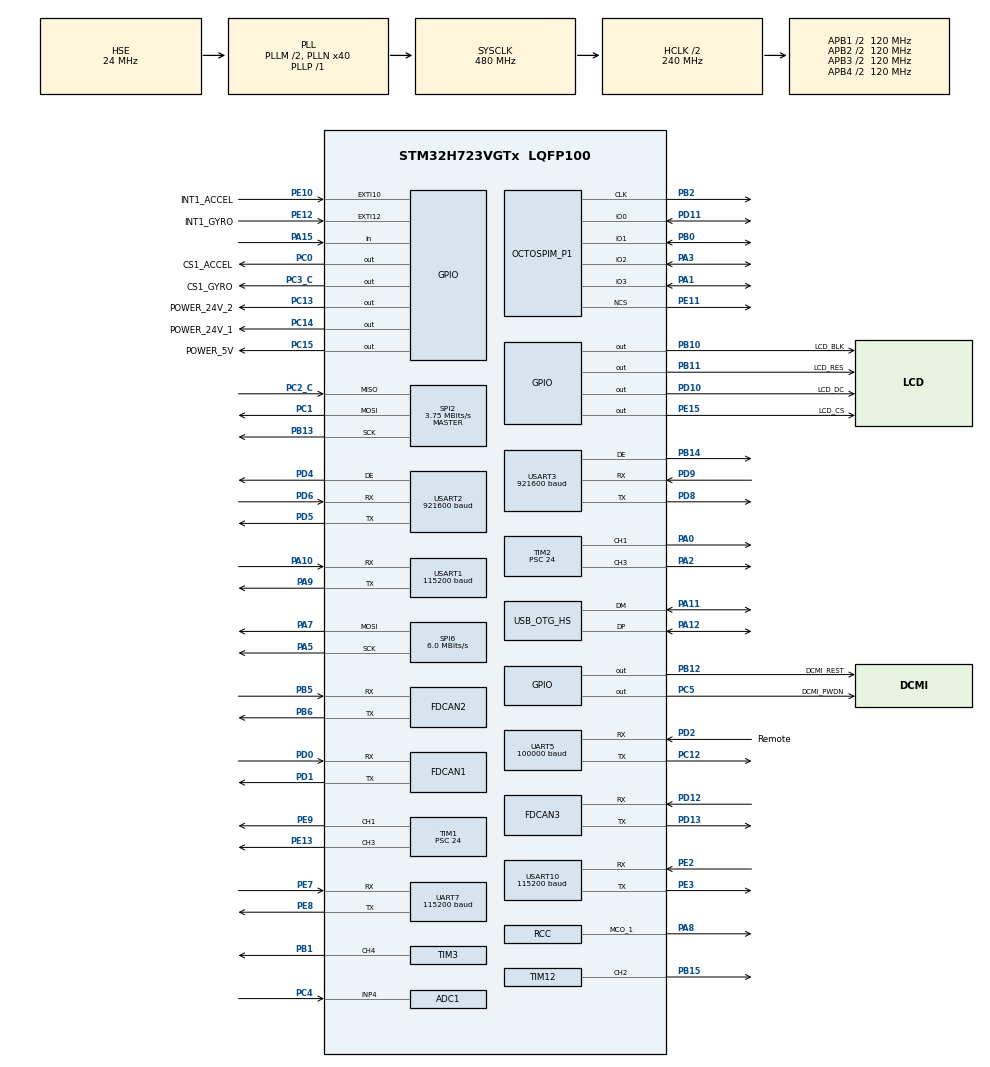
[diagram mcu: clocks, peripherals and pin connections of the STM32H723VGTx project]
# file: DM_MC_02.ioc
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ADC1.Channel-2\#ChannelRegularConversion=ADC_CHANNEL_4
ADC1.NbrOfConversionFlag=1
ADC1.OffsetNumber-2\#ChannelRegularConversion=ADC_OFFSET_NONE
ADC1.OffsetSignedSaturation-2\#ChannelRegularConversion=DISABLE
ADC1.Rank-2\#ChannelRegularConversion=1
ADC1.SamplingTime-2\#ChannelRegularConversion=ADC_SAMPLETIME_1CYCLE_5
ADC1.master=1
CORTEX_M7.BaseAddress-Cortex_Memory_Protection_Unit_Region0_Settings=0x24000000
CORTEX_M7.CPU_DCache=Disabled
CORTEX_M7.CPU_ICache=Disabled
CORTEX_M7.Enable-Cortex_Memory_Protection_Unit_Region0_Settings=MPU_REGION_ENABLE
CORTEX_M7.IsBufferable-Cortex_Memory_Protection_Unit_Region0_Settings=MPU_ACCESS_BUFFERABLE
CORTEX_M7.IsCacheable-Cortex_Memory_Protection_Unit_Region0_Settings=MPU_ACCESS_CACHEABLE
CORTEX_M7.MPU_Control=__NULL
CORTEX_M7.Size-Cortex_Memory_Protection_Unit_Region0_Settings=MPU_REGION_SIZE_512B
CORTEX_M7.TypeExtField-Cortex_Memory_Protection_Unit_Region0_Settings=MPU_TEX_LEVEL1
Dma.Request0=UART5_RX
Dma.Request1=UART7_RX
Dma.Request2=UART7_TX
Dma.Request3=USART10_RX
Dma.Request4=USART10_TX
Dma.Request5=USART1_RX
Dma.Request6=USART1_TX
Dma.UART5_RX.0.Direction=DMA_PERIPH_TO_MEMORY
Dma.UART5_RX.0.EventEnable=DISABLE
Dma.UART5_RX.0.FIFOMode=DMA_FIFOMODE_DISABLE
Dma.UART5_RX.0.Instance=DMA1_Stream1
Dma.UART5_RX.0.MemDataAlignment=DMA_MDATAALIGN_BYTE
Dma.UART5_RX.0.MemInc=DMA_MINC_ENABLE
Dma.UART5_RX.0.Mode=DMA_NORMAL
Dma.UART5_RX.0.PeriphDataAlignment=DMA_PDATAALIGN_BYTE
Dma.UART5_RX.0.PeriphInc=DMA_PINC_DISABLE
Dma.UART5_RX.0.Polarity=HAL_DMAMUX_REQ_GEN_RISING
Dma.UART5_RX.0.Priority=DMA_PRIORITY_VERY_HIGH
Dma.UART5_RX.0.RequestNumber=1
Dma.UART5_RX.0.SignalID=NONE
Dma.UART5_RX.0.SyncEnable=DISABLE
Dma.UART5_RX.0.SyncPolarity=HAL_DMAMUX_SYNC_NO_EVENT
Dma.UART5_RX.0.SyncRequestNumber=1
Dma.UART5_RX.0.SyncSignalID=NONE
Dma.UART7_RX.1.Direction=DMA_PERIPH_TO_MEMORY
Dma.UART7_RX.1.EventEnable=DISABLE
Dma.UART7_RX.1.FIFOMode=DMA_FIFOMODE_DISABLE
Dma.UART7_RX.1.Instance=DMA1_Stream2
Dma.UART7_RX.1.MemDataAlignment=DMA_MDATAALIGN_BYTE
Dma.UART7_RX.1.MemInc=DMA_MINC_ENABLE
Dma.UART7_RX.1.Mode=DMA_NORMAL
Dma.UART7_RX.1.PeriphDataAlignment=DMA_PDATAALIGN_BYTE
Dma.UART7_RX.1.PeriphInc=DMA_PINC_DISABLE
Dma.UART7_RX.1.Polarity=HAL_DMAMUX_REQ_GEN_RISING
Dma.UART7_RX.1.Priority=DMA_PRIORITY_MEDIUM
Dma.UART7_RX.1.RequestNumber=1
Dma.UART7_RX.1.SignalID=NONE
Dma.UART7_RX.1.SyncEnable=DISABLE
Dma.UART7_RX.1.SyncPolarity=HAL_DMAMUX_SYNC_NO_EVENT
Dma.UART7_RX.1.SyncRequestNumber=1
Dma.UART7_RX.1.SyncSignalID=NONE
Dma.UART7_TX.2.Direction=DMA_MEMORY_TO_PERIPH
Dma.UART7_TX.2.EventEnable=DISABLE
Dma.UART7_TX.2.FIFOMode=DMA_FIFOMODE_DISABLE
Dma.UART7_TX.2.Instance=DMA1_Stream3
Dma.UART7_TX.2.MemDataAlignment=DMA_MDATAALIGN_BYTE
Dma.UART7_TX.2.MemInc=DMA_MINC_ENABLE
Dma.UART7_TX.2.Mode=DMA_NORMAL
Dma.UART7_TX.2.PeriphDataAlignment=DMA_PDATAALIGN_BYTE
Dma.UART7_TX.2.PeriphInc=DMA_PINC_DISABLE
Dma.UART7_TX.2.Polarity=HAL_DMAMUX_REQ_GEN_RISING
Dma.UART7_TX.2.Priority=DMA_PRIORITY_MEDIUM
Dma.UART7_TX.2.RequestNumber=1
Dma.UART7_TX.2.SignalID=NONE
Dma.UART7_TX.2.SyncEnable=DISABLE
Dma.UART7_TX.2.SyncPolarity=HAL_DMAMUX_SYNC_NO_EVENT
Dma.UART7_TX.2.SyncRequestNumber=1
Dma.UART7_TX.2.SyncSignalID=NONE
Dma.USART10_RX.3.Direction=DMA_PERIPH_TO_MEMORY
Dma.USART10_RX.3.EventEnable=DISABLE
Dma.USART10_RX.3.FIFOMode=DMA_FIFOMODE_DISABLE
Dma.USART10_RX.3.Instance=DMA1_Stream4
Dma.USART10_RX.3.MemDataAlignment=DMA_MDATAALIGN_BYTE
Dma.USART10_RX.3.MemInc=DMA_MINC_ENABLE
Dma.USART10_RX.3.Mode=DMA_NORMAL
Dma.USART10_RX.3.PeriphDataAlignment=DMA_PDATAALIGN_BYTE
Dma.USART10_RX.3.PeriphInc=DMA_PINC_DISABLE
Dma.USART10_RX.3.Polarity=HAL_DMAMUX_REQ_GEN_RISING
Dma.USART10_RX.3.Priority=DMA_PRIORITY_LOW
Dma.USART10_RX.3.RequestNumber=1
Dma.USART10_RX.3.SignalID=NONE
Dma.USART10_RX.3.SyncEnable=DISABLE
Dma.USART10_RX.3.SyncPolarity=HAL_DMAMUX_SYNC_NO_EVENT
Dma.USART10_RX.3.SyncRequestNumber=1
Dma.USART10_RX.3.SyncSignalID=NONE
Dma.USART10_TX.4.Direction=DMA_MEMORY_TO_PERIPH
Dma.USART10_TX.4.EventEnable=DISABLE
Dma.USART10_TX.4.FIFOMode=DMA_FIFOMODE_DISABLE
Dma.USART10_TX.4.Instance=DMA1_Stream5
Dma.USART10_TX.4.MemDataAlignment=DMA_MDATAALIGN_BYTE
Dma.USART10_TX.4.MemInc=DMA_MINC_ENABLE
Dma.USART10_TX.4.Mode=DMA_NORMAL
Dma.USART10_TX.4.PeriphDataAlignment=DMA_PDATAALIGN_BYTE
Dma.USART10_TX.4.PeriphInc=DMA_PINC_DISABLE
Dma.USART10_TX.4.Polarity=HAL_DMAMUX_REQ_GEN_RISING
Dma.USART10_TX.4.Priority=DMA_PRIORITY_LOW
Dma.USART10_TX.4.RequestNumber=1
Dma.USART10_TX.4.SignalID=NONE
Dma.USART10_TX.4.SyncEnable=DISABLE
Dma.USART10_TX.4.SyncPolarity=HAL_DMAMUX_SYNC_NO_EVENT
Dma.USART10_TX.4.SyncRequestNumber=1
Dma.USART10_TX.4.SyncSignalID=NONE
Dma.USART1_RX.5.Direction=DMA_PERIPH_TO_MEMORY
Dma.USART1_RX.5.EventEnable=DISABLE
Dma.USART1_RX.5.FIFOMode=DMA_FIFOMODE_DISABLE
Dma.USART1_RX.5.Instance=DMA1_Stream0
Dma.USART1_RX.5.MemDataAlignment=DMA_MDATAALIGN_BYTE
Dma.USART1_RX.5.MemInc=DMA_MINC_ENABLE
Dma.USART1_RX.5.Mode=DMA_NORMAL
Dma.USART1_RX.5.PeriphDataAlignment=DMA_PDATAALIGN_BYTE
Dma.USART1_RX.5.PeriphInc=DMA_PINC_DISABLE
Dma.USART1_RX.5.Polarity=HAL_DMAMUX_REQ_GEN_RISING
Dma.USART1_RX.5.Priority=DMA_PRIORITY_LOW
Dma.USART1_RX.5.RequestNumber=1
Dma.USART1_RX.5.SignalID=NONE
Dma.USART1_RX.5.SyncEnable=DISABLE
Dma.USART1_RX.5.SyncPolarity=HAL_DMAMUX_SYNC_NO_EVENT
Dma.USART1_RX.5.SyncRequestNumber=1
Dma.USART1_RX.5.SyncSignalID=NONE
Dma.USART1_TX.6.Direction=DMA_MEMORY_TO_PERIPH
Dma.USART1_TX.6.EventEnable=DISABLE
Dma.USART1_TX.6.FIFOMode=DMA_FIFOMODE_DISABLE
Dma.USART1_TX.6.Instance=DMA1_Stream6
Dma.USART1_TX.6.MemDataAlignment=DMA_MDATAALIGN_BYTE
Dma.USART1_TX.6.MemInc=DMA_MINC_ENABLE
Dma.USART1_TX.6.Mode=DMA_NORMAL
Dma.USART1_TX.6.PeriphDataAlignment=DMA_PDATAALIGN_BYTE
Dma.USART1_TX.6.PeriphInc=DMA_PINC_DISABLE
Dma.USART1_TX.6.Polarity=HAL_DMAMUX_REQ_GEN_RISING
Dma.USART1_TX.6.Priority=DMA_PRIORITY_LOW
Dma.USART1_TX.6.RequestNumber=1
Dma.USART1_TX.6.SignalID=NONE
Dma.USART1_TX.6.SyncEnable=DISABLE
Dma.USART1_TX.6.SyncPolarity=HAL_DMAMUX_SYNC_NO_EVENT
Dma.USART1_TX.6.SyncRequestNumber=1
Dma.USART1_TX.6.SyncSignalID=NONE
FDCAN1.CalculateBaudRateNominal=1000000
FDCAN1.CalculateTimeBitNominal=1000
FDCAN1.CalculateTimeQuantumNominal=100.0
FDCAN1.NominalPrescaler=12
FDCAN1.NominalTimeSeg1=7
FDCAN1.NominalTimeSeg2=2
FDCAN1.RxFifo0ElmtsNbr=32
FDCAN1.StdFiltersNbr=1
FDCAN1.TxFifoQueueElmtsNbr=32
FDCAN2.CalculateBaudRateNominal=1000000
FDCAN2.CalculateTimeBitNominal=1000
FDCAN2.CalculateTimeQuantumNominal=100.0
FDCAN2.MessageRAMOffset=0x406
FDCAN2.NominalPrescaler=12
FDCAN2.NominalTimeSeg1=7
FDCAN2.NominalTimeSeg2=2
FDCAN2.RxFifo0ElmtsNbr=32
FDCAN2.StdFiltersNbr=1
FDCAN2.TxFifoQueueElmtsNbr=32
FDCAN3.CalculateBaudRateNominal=1000000
FDCAN3.CalculateTimeBitNominal=1000
FDCAN3.CalculateTimeQuantumNominal=100.0
FDCAN3.MessageRAMOffset=0x812
FDCAN3.NominalPrescaler=12
FDCAN3.NominalTimeSeg1=7
FDCAN3.NominalTimeSeg2=2
FDCAN3.RxFifo0ElmtsNbr=32
FDCAN3.StdFiltersNbr=1
FDCAN3.TxFifoQueueElmtsNbr=32
FREERTOS.INCLUDE_eTaskGetState=1
FREERTOS.INCLUDE_uxTaskGetStackHighWaterMark=1
FREERTOS.INCLUDE_vTaskDelayUntil=1
FREERTOS.INCLUDE_xQueueGetMutexHolder=1
FREERTOS.INCLUDE_xTaskGetCurrentTaskHandle=1
FREERTOS.INCLUDE_xTimerPendFunctionCall=1
FREERTOS.Tasks01=defaultTask,24,2048,StartDefaultTask,Default,NULL,Dynamic,NULL,NULL
FREERTOS.configCHECK_FOR_STACK_OVERFLOW=2
FREERTOS.configENABLE_FPU=1
FREERTOS.configGENERATE_RUN_TIME_STATS=1
FREERTOS.configRECORD_STACK_HIGH_ADDRESS=1
FREERTOS.configTOTAL_HEAP_SIZE=65536
FREERTOS.configUSE_COUNTING_SEMAPHORES=1
FREERTOS.configUSE_RECURSIVE_MUTEXES=1
FREERTOS.configUSE_TIMERS=1
FREERTOS.configUSE_TRACE_FACILITY=1
Mcu.Family=STM32H7
Mcu.Name=STM32H723VGTx
Mcu.Package=LQFP100
NVIC.DMA1_Stream0_IRQn=true\:5\:0\:false\:false\:true\:true\:false\:true\:true
NVIC.DMA1_Stream1_IRQn=true\:5\:0\:false\:false\:true\:true\:false\:true\:true
NVIC.DMA1_Stream2_IRQn=true\:5\:0\:false\:false\:true\:true\:false\:true\:true
NVIC.DMA1_Stream3_IRQn=true\:5\:0\:false\:false\:true\:true\:false\:true\:true
NVIC.DMA1_Stream4_IRQn=true\:5\:0\:false\:false\:true\:true\:false\:true\:true
NVIC.DMA1_Stream5_IRQn=true\:5\:0\:false\:false\:true\:true\:false\:true\:true
NVIC.DMA1_Stream6_IRQn=true\:5\:0\:false\:false\:true\:true\:false\:true\:true
NVIC.EXTI15_10_IRQn=true\:5\:0\:false\:false\:true\:true\:true\:true\:true
NVIC.FDCAN1_IT0_IRQn=true\:5\:0\:false\:false\:true\:true\:true\:true\:true
NVIC.FDCAN1_IT1_IRQn=true\:5\:0\:false\:false\:true\:true\:true\:true\:true
NVIC.FDCAN2_IT0_IRQn=true\:5\:0\:false\:false\:true\:true\:true\:true\:true
NVIC.FDCAN2_IT1_IRQn=true\:5\:0\:false\:false\:true\:true\:true\:true\:true
NVIC.FDCAN3_IT0_IRQn=true\:5\:0\:false\:false\:true\:true\:true\:true\:true
NVIC.FDCAN3_IT1_IRQn=true\:5\:0\:false\:false\:true\:true\:true\:true\:true
NVIC.OTG_HS_IRQn=true\:5\:0\:false\:false\:true\:true\:false\:true\:true
NVIC.PriorityGroup=NVIC_PRIORITYGROUP_4
NVIC.TIM23_IRQn=true\:15\:0\:false\:false\:true\:false\:false\:true\:true
NVIC.TimeBase=TIM23_IRQn
NVIC.TimeBaseIP=TIM23
NVIC.UART5_IRQn=true\:5\:0\:false\:false\:true\:true\:true\:true\:true
NVIC.UART7_IRQn=true\:5\:0\:true\:false\:true\:false\:true\:true\:true
NVIC.USART10_IRQn=true\:5\:0\:true\:false\:true\:false\:true\:true\:true
NVIC.USART1_IRQn=true\:5\:0\:true\:false\:true\:false\:true\:true\:true
NVIC.USART2_IRQn=true\:5\:0\:true\:false\:true\:false\:true\:true\:true
NVIC.USART3_IRQn=true\:5\:0\:true\:false\:true\:false\:true\:true\:true
OCTOSPI2.ClockMode=HAL_OSPI_CLOCK_MODE_3
OCTOSPI2.ClockPrescaler=3
OCTOSPI2.DeviceSize=23
OCTOSPI2.DeviceType=SPI_DEVICE_FLASH
OCTOSPI2.FifoThreshold=8
OCTOSPI2.SampleShifting=HAL_OSPI_SAMPLE_SHIFTING_HALFCYCLE
PA0.Signal=S_TIM2_CH1_ETR
PA1.Mode=OCTOSPI2_IOL_Port1L
PA1.Signal=OCTOSPIM_P1_IO3
PA10.Mode=Asynchronous
PA10.Signal=USART1_RX
PA11.Mode=Device_Only_FS
PA11.Signal=USB_OTG_HS_DM
PA12.Mode=Device_Only_FS
PA12.Signal=USB_OTG_HS_DP
PA13(JTMS/SWDIO).Mode=Serial_Wire
PA13(JTMS/SWDIO).Signal=DEBUG_JTMS-SWDIO
PA14(JTCK/SWCLK).Mode=Serial_Wire
PA14(JTCK/SWCLK).Signal=DEBUG_JTCK-SWCLK
PA15(JTDI).Signal=GPIO_Input
PA2.Signal=S_TIM2_CH3
PA3.Mode=OCTOSPI2_IOL_Port1L
PA3.Signal=OCTOSPIM_P1_IO2
PA5.Mode=TX_Only_Simplex_Unidirect_Master
PA5.Signal=SPI6_SCK
PA7.Mode=TX_Only_Simplex_Unidirect_Master
PA7.Signal=SPI6_MOSI
PA8.Mode=Clock-out-1
PA8.Signal=RCC_MCO_1
PA9.Mode=Asynchronous
PA9.Signal=USART1_TX
PB0.Mode=OCTOSPI2_IOL_Port1L
PB0.Signal=OCTOSPIM_P1_IO1
PB1.Signal=S_TIM3_CH4
PB10.GPIO_Label=LCD_BLK
PB10.Signal=GPIO_Output
PB11.GPIO_Label=LCD_RES
PB11.Signal=GPIO_Output
PB12.GPIO_Label=DCMI_REST
PB12.GPIO_PuPd=GPIO_PULLUP
PB12.GPIO_Speed=GPIO_SPEED_FREQ_VERY_HIGH
PB12.PinState=GPIO_PIN_SET
PB12.Signal=GPIO_Output
PB13.GPIO_Speed=GPIO_SPEED_FREQ_VERY_HIGH
PB13.Mode=Full_Duplex_Master
PB13.Signal=SPI2_SCK
PB14.Mode=Hardware Flow Control (RS485)
PB14.Signal=USART3_DE
PB15.Signal=S_TIM12_CH2
PB2.Mode=O2_P1_CLK
PB2.Signal=OCTOSPIM_P1_CLK
PB5.Mode=FDCAN_Activate
PB5.Signal=FDCAN2_RX
PB6.Mode=FDCAN_Activate
PB6.Signal=FDCAN2_TX
PC0.GPIO_Label=CS1_ACCEL
PC0.GPIO_Speed=GPIO_SPEED_FREQ_VERY_HIGH
PC0.PinState=GPIO_PIN_SET
PC0.Signal=GPIO_Output
PC1.GPIO_Speed=GPIO_SPEED_FREQ_VERY_HIGH
PC1.Mode=Full_Duplex_Master
PC1.Signal=SPI2_MOSI
PC12.Mode=Asynchronous
PC12.Signal=UART5_TX
PC13.GPIO_Label=POWER_24V_2
PC13.PinState=GPIO_PIN_SET
PC13.Signal=GPIO_Output
PC14-OSC32_IN.GPIO_Label=POWER_24V_1
PC14-OSC32_IN.PinState=GPIO_PIN_SET
PC14-OSC32_IN.Signal=GPIO_Output
PC15-OSC32_OUT.GPIO_Label=POWER_5V
PC15-OSC32_OUT.PinState=GPIO_PIN_SET
PC15-OSC32_OUT.Signal=GPIO_Output
PC2_C.GPIO_Speed=GPIO_SPEED_FREQ_VERY_HIGH
PC2_C.Mode=Full_Duplex_Master
PC2_C.Signal=SPI2_MISO
PC3_C.GPIO_Label=CS1_GYRO
PC3_C.GPIO_Speed=GPIO_SPEED_FREQ_VERY_HIGH
PC3_C.PinState=GPIO_PIN_SET
PC3_C.Signal=GPIO_Output
PC4.Signal=ADCx_INP4
PC5.GPIO_Label=DCMI_PWDN
PC5.GPIO_PuPd=GPIO_NOPULL
PC5.GPIO_Speed=GPIO_SPEED_FREQ_VERY_HIGH
PC5.PinState=GPIO_PIN_SET
PC5.Signal=GPIO_Output
PD0.Mode=FDCAN_Activate
PD0.Signal=FDCAN1_RX
PD1.Mode=FDCAN_Activate
PD1.Signal=FDCAN1_TX
PD10.GPIO_Label=LCD_DC
PD10.Signal=GPIO_Output
PD11.Mode=OCTOSPI2_IOL_Port1L
PD11.Signal=OCTOSPIM_P1_IO0
PD12.Mode=FDCAN_Activate
PD12.Signal=FDCAN3_RX
PD13.Mode=FDCAN_Activate
PD13.Signal=FDCAN3_TX
PD2.GPIO_Label=Remote
PD2.GPIO_Speed=GPIO_SPEED_FREQ_VERY_HIGH
PD2.Mode=Asynchronous
PD2.Signal=UART5_RX
PD4.Mode=Hardware Flow Control (RS485)
PD4.Signal=USART2_DE
PD5.Mode=Asynchronous
PD5.Signal=USART2_TX
PD6.Mode=Asynchronous
PD6.Signal=USART2_RX
PD7.GPIO_Speed=GPIO_SPEED_FREQ_VERY_HIGH
PD7.Signal=SPI1_MOSI
PD8.Mode=Asynchronous
PD8.Signal=USART3_TX
PD9.Mode=Asynchronous
PD9.Signal=USART3_RX
PE10.GPIO_Label=INT1_ACCEL
PE10.Signal=GPXTI10
PE11.Mode=OCTOSPI2_Port1_NCS
PE11.Signal=OCTOSPIM_P1_NCS
PE12.GPIO_Label=INT1_GYRO
PE12.Signal=GPXTI12
PE13.Signal=S_TIM1_CH3
PE15.GPIO_Label=LCD_CS
PE15.Signal=GPIO_Output
PE2.Mode=Asynchronous
PE2.Signal=USART10_RX
PE3.Mode=Asynchronous
PE3.Signal=USART10_TX
PE7.Mode=Asynchronous
PE7.Signal=UART7_RX
PE8.Mode=Asynchronous
PE8.Signal=UART7_TX
PE9.Signal=S_TIM1_CH1
PH0-OSC_IN.Mode=HSE-External-Oscillator
PH0-OSC_IN.Signal=RCC_OSC_IN
PH1-OSC_OUT.Mode=HSE-External-Oscillator
PH1-OSC_OUT.Signal=RCC_OSC_OUT
ProjectManager.HeapSize=0x200
ProjectManager.StackSize=0x800
ProjectManager.TargetToolchain=CMake
RCC.ADCFreq_Value=96000000
RCC.APB1Freq_Value=120000000
RCC.APB2Freq_Value=120000000
RCC.APB3Freq_Value=120000000
RCC.APB4Freq_Value=120000000
RCC.CortexFreq_Value=480000000
RCC.D1PPRE=RCC_APB3_DIV2
RCC.D2PPRE1=RCC_APB1_DIV2
RCC.D2PPRE2=RCC_APB2_DIV2
RCC.D3PPRE=RCC_APB4_DIV2
RCC.DIVM1=2
RCC.DIVM2=2
RCC.DIVN1=40
RCC.DIVN2=16
RCC.DIVP1=1
RCC.DIVQ1=4
RCC.HCLKFreq_Value=240000000
RCC.HPRE=RCC_HCLK_DIV2
RCC.HSE_VALUE=24000000
RCC.PLL1_VCO_SEL-AdvancedSettings=RCC_PLL1VCOMEDIUM
RCC.PLL2FRACN=0
RCC.PLL2_VCI_Range-AdvancedSettings=RCC_PLL2VCIRANGE_0
RCC.PLL2_VCO_SEL-AdvancedSettings=RCC_PLL2VCOWIDE
RCC.PLL3FRACN=0
RCC.PLL3_VCO_SEL-AdvancedSettings=RCC_PLL3VCOMEDIUM
RCC.PLLFRACN=0
RCC.PLLSourceVirtual=RCC_PLLSOURCE_HSE
RCC.RCC_MCO1Source=RCC_MCO1SOURCE_HSI48
RCC.SPI6CLockSelection=RCC_SPI6CLKSOURCE_HSE
RCC.SYSCLKFreq_VALUE=480000000
RCC.SYSCLKSource=RCC_SYSCLKSOURCE_PLLCLK
RCC.USBCLockSelection=RCC_USBCLKSOURCE_HSI48
RCC.USBFreq_Value=48000000
SH.ADCx_INP4.0=ADC1_INP4,IN4-Single-Ended
SH.S_TIM12_CH2.0=TIM12_CH2,PWM Generation2 CH2
SH.S_TIM1_CH1.0=TIM1_CH1,PWM Generation1 CH1
SH.S_TIM1_CH3.0=TIM1_CH3,PWM Generation3 CH3
SH.S_TIM2_CH1_ETR.0=TIM2_CH1,PWM Generation1 CH1
SH.S_TIM2_CH3.0=TIM2_CH3,PWM Generation3 CH3
SH.S_TIM3_CH4.0=TIM3_CH4,PWM Generation4 CH4
SPI2.BaudRatePrescaler=SPI_BAUDRATEPRESCALER_32
SPI2.CLKPhase=SPI_PHASE_2EDGE
SPI2.CLKPolarity=SPI_POLARITY_HIGH
SPI2.CalculateBaudRate=3.75 MBits/s
SPI2.DataSize=SPI_DATASIZE_8BIT
SPI2.Direction=SPI_DIRECTION_2LINES
SPI2.Mode=SPI_MODE_MASTER
SPI2.VirtualType=VM_MASTER
SPI6.BaudRatePrescaler=SPI_BAUDRATEPRESCALER_4
SPI6.CalculateBaudRate=6.0 MBits/s
SPI6.DataSize=SPI_DATASIZE_6BIT
SPI6.Direction=SPI_DIRECTION_2LINES_TXONLY
SPI6.Mode=SPI_MODE_MASTER
SPI6.VirtualType=VM_MASTER
TIM1.Channel-PWM\ Generation1\ CH1=TIM_CHANNEL_1
TIM1.Channel-PWM\ Generation3\ CH3=TIM_CHANNEL_3
TIM1.Period=10000
TIM1.Prescaler=24
TIM1.Pulse-PWM\ Generation1\ CH1=5000
TIM1.Pulse-PWM\ Generation3\ CH3=5000
TIM12.Channel-PWM\ Generation2\ CH2=TIM_CHANNEL_2
TIM12.Period=65535
TIM12.Prescaler=24-1
TIM2.Channel-PWM\ Generation1\ CH1=TIM_CHANNEL_1
TIM2.Channel-PWM\ Generation3\ CH3=TIM_CHANNEL_3
TIM2.Period=10000
TIM2.Prescaler=24
TIM2.Pulse-PWM\ Generation1\ CH1=5000
TIM2.Pulse-PWM\ Generation3\ CH3=5000
TIM3.AutoReloadPreload=TIM_AUTORELOAD_PRELOAD_ENABLE
TIM3.Channel-PWM\ Generation4\ CH4=TIM_CHANNEL_4
TIM3.Period=10000-1
TIM3.Prescaler=24-1
TIM6.Prescaler=12000-1
UART5.BaudRate=100000
UART5.Parity=PARITY_EVEN
UART5.WordLength=WORDLENGTH_9B
UART7.BaudRate=115200
USART1.BaudRate=115200
USART1.VirtualMode-Asynchronous=VM_ASYNC
USART10.BaudRate=115200
USART10.VirtualMode=VM_ASYNC
USART2.BaudRate=921600
USART2.VirtualMode-Asynchronous=VM_ASYNC
USART2.VirtualMode-Hardware\ Flow\ Control\ (RS485)=VM_ASYNC
USART3.BaudRate=921600
USART3.VirtualMode-Asynchronous=VM_ASYNC
USART3.VirtualMode-Hardware\ Flow\ Control\ (RS485)=VM_ASYNC
USB_DEVICE.CLASS_NAME_HS=CDC
USB_DEVICE.VirtualMode=Cdc
USB_DEVICE.VirtualModeHS=Cdc_HS
USB_OTG_HS.VirtualMode-Device_Only_FS=Device_Only_FS
USB_OTG_HS.lpm_enable-Device_Only_FS=DISABLE
VP_FREERTOS_VS_CMSIS_V2.Mode=CMSIS_V2
VP_MEMORYMAP_VS_MEMORYMAP.Mode=CurAppReg
VP_OCTOSPI2_VS_quad.Mode=quad_mode
VP_SYS_VS_tim23.Mode=TIM23
VP_TIM6_VS_ClockSourceINT.Mode=Enable_Timer
VP_USB_DEVICE_VS_USB_DEVICE_CDC_HS.Mode=CDC_HS
board=custom

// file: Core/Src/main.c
/* USER CODE BEGIN Header */
/**
  ******************************************************************************
  * @file           : main.c
  * @brief          : Main program body
  ******************************************************************************
  * @attention
  *
  * Copyright (c) 2024 STMicroelectronics.
  * All rights reserved.
  *
  * This software is licensed under terms that can be found in the LICENSE file
  * in the root directory of this software component.
  * If no LICENSE file comes with this software, it is provided AS-IS.
  *
  ******************************************************************************
  */
/* USER CODE END Header */
#include "main.h"
#include "cmsis_os.h"
#include "adc.h"
#include "dma.h"
#include "fdcan.h"
#include "memorymap.h"
#include "octospi.h"
#include "spi.h"
#include "tim.h"
#include "usart.h"
#include "usb_device.h"
#include "gpio.h"

/* USER CODE BEGIN Includes */
// #include "robot.h"  // Removed - user application specific
/* USER CODE END Includes */

void SystemClock_Config(void);
void MX_FREERTOS_Init(void);

int main(void)
{

  /* MCU Configuration--------------------------------------------------------*/

  /* Reset of all peripherals, Initializes the Flash interface and the Systick. */
  HAL_Init();

  /* Configure the system clock */
  SystemClock_Config();

  /* Initialize all configured peripherals */
  MX_GPIO_Init();
  MX_DMA_Init();
  MX_TIM12_Init();
  MX_SPI2_Init();
  MX_TIM3_Init();
  MX_USART1_UART_Init();
  MX_USART2_UART_Init();
  MX_USART3_UART_Init();
  MX_UART7_Init();
  MX_USART10_UART_Init();
  MX_FDCAN1_Init();
  MX_FDCAN2_Init();
  MX_FDCAN3_Init();
  MX_TIM1_Init();
  MX_TIM2_Init();
  MX_OCTOSPI2_Init();
  MX_TIM6_Init();
  MX_UART5_Init();
  MX_SPI6_Init();
  MX_ADC1_Init();

  /* Init scheduler */
  osKernelInitialize();

  /* Call init function for freertos objects (in cmsis_os2.c) */
  MX_FREERTOS_Init();

  /* Start scheduler */
  osKernelStart();

  /* We should never get here as control is now taken by the scheduler */

  /* Infinite loop */
  while (1)
  {

  }
}

void SystemClock_Config(void)
{
  RCC_OscInitTypeDef RCC_OscInitStruct = {0};
  RCC_ClkInitTypeDef RCC_ClkInitStruct = {0};

  /** Supply configuration update enable
  */
  HAL_PWREx_ConfigSupply(PWR_LDO_SUPPLY);

  /** Configure the main internal regulator output voltage
  */
  __HAL_PWR_VOLTAGESCALING_CONFIG(PWR_REGULATOR_VOLTAGE_SCALE0);

  while(!__HAL_PWR_GET_FLAG(PWR_FLAG_VOSRDY)) {}

  /** Initializes the RCC Oscillators according to the specified parameters
  * in the RCC_OscInitTypeDef structure.
  */
  RCC_OscInitStruct.OscillatorType = RCC_OSCILLATORTYPE_HSI48|RCC_OSCILLATORTYPE_HSE;
  RCC_OscInitStruct.HSEState = RCC_HSE_ON;
  RCC_OscInitStruct.HSI48State = RCC_HSI48_ON;
  RCC_OscInitStruct.PLL.PLLState = RCC_PLL_ON;
  RCC_OscInitStruct.PLL.PLLSource = RCC_PLLSOURCE_HSE;
  RCC_OscInitStruct.PLL.PLLM = 2;
  RCC_OscInitStruct.PLL.PLLN = 40;
  RCC_OscInitStruct.PLL.PLLP = 1;
  RCC_OscInitStruct.PLL.PLLQ = 4;
  RCC_OscInitStruct.PLL.PLLR = 2;
  RCC_OscInitStruct.PLL.PLLRGE = RCC_PLL1VCIRANGE_3;
  RCC_OscInitStruct.PLL.PLLVCOSEL = RCC_PLL1VCOWIDE;
  RCC_OscInitStruct.PLL.PLLFRACN = 0;
  if (HAL_RCC_OscConfig(&RCC_OscInitStruct) != HAL_OK)
  {
    Error_Handler();
  }

  /** Initializes the CPU, AHB and APB buses clocks
  */
  RCC_ClkInitStruct.ClockType = RCC_CLOCKTYPE_HCLK|RCC_CLOCKTYPE_SYSCLK
                              |RCC_CLOCKTYPE_PCLK1|RCC_CLOCKTYPE_PCLK2
                              |RCC_CLOCKTYPE_D3PCLK1|RCC_CLOCKTYPE_D1PCLK1;
  RCC_ClkInitStruct.SYSCLKSource = RCC_SYSCLKSOURCE_PLLCLK;
  RCC_ClkInitStruct.SYSCLKDivider = RCC_SYSCLK_DIV1;
  RCC_ClkInitStruct.AHBCLKDivider = RCC_HCLK_DIV2;
  RCC_ClkInitStruct.APB3CLKDivider = RCC_APB3_DIV2;
  RCC_ClkInitStruct.APB1CLKDivider = RCC_APB1_DIV2;
  RCC_ClkInitStruct.APB2CLKDivider = RCC_APB2_DIV2;
  RCC_ClkInitStruct.APB4CLKDivider = RCC_APB4_DIV2;

  if (HAL_RCC_ClockConfig(&RCC_ClkInitStruct, FLASH_LATENCY_3) != HAL_OK)
  {
    Error_Handler();
  }
  HAL_RCC_MCOConfig(RCC_MCO1, RCC_MCO1SOURCE_HSI48, RCC_MCODIV_1);
}

void HAL_TIM_PeriodElapsedCallback(TIM_HandleTypeDef *htim)
{
  if (htim->Instance == TIM23) {
    HAL_IncTick();
  }
}

void Error_Handler(void)
{
  __disable_irq();
  while (1)
  {
  }
}

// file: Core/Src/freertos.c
/* USER CODE BEGIN Header */
/**
  ******************************************************************************
  * File Name          : freertos.c
  * Description        : Code for freertos applications
  ******************************************************************************
  * @attention
  *
  * Copyright (c) 2024 STMicroelectronics.
  * All rights reserved.
  *
  * This software is licensed under terms that can be found in the LICENSE file
  * in the root directory of this software component.
  * If no LICENSE file comes with this software, it is provided AS-IS.
  *
  ******************************************************************************
  */
/* USER CODE END Header */

#include "FreeRTOS.h"
#include "task.h"
#include "main.h"
#include "cmsis_os.h"

/* USER CODE BEGIN Includes */
#include "tim.h"
#include "usart.h"  // For debug output
/* USER CODE END Includes */

/* Definitions for defaultTask */
osThreadId_t defaultTaskHandle;
const osThreadAttr_t defaultTask_attributes = {
  .name = "defaultTask",
  .stack_size = 2048 * 4,
  .priority = (osPriority_t) osPriorityNormal,
};

/* USER CODE BEGIN FunctionPrototypes */
__weak void RM_RTOS_Init(void) {}
__weak void RM_RTOS_Mutexes_Init(void) {}
__weak void RM_RTOS_Semaphores_Init(void) {}
__weak void RM_RTOS_Timers_Init(void) {}
__weak void RM_RTOS_Queues_Init(void) {}
__weak void RM_RTOS_Threads_Init(void) {}
__weak void RM_RTOS_Ready(void) {}
__weak void RM_RTOS_Default_Task(const void *argument) { UNUSED(argument); }
/* USER CODE END FunctionPrototypes */

void StartDefaultTask(void *argument);

extern void MX_USB_DEVICE_Init(void);
void MX_FREERTOS_Init(void); /* (MISRA C 2004 rule 8.1) */

/* Hook prototypes */
void configureTimerForRunTimeStats(void);
unsigned long getRunTimeCounterValue(void);
void vApplicationStackOverflowHook(xTaskHandle xTask, signed char *pcTaskName);

/* USER CODE BEGIN 1 */
/* Functions needed when configGENERATE_RUN_TIME_STATS is on */
__weak void configureTimerForRunTimeStats(void)
{
  HAL_TIM_Base_Start(&htim6);
}

__weak unsigned long getRunTimeCounterValue(void)
{
  return __HAL_TIM_GET_COUNTER(&htim6);
}

/* Stack overflow hook - called when stack overflow is detected */
void vApplicationStackOverflowHook(xTaskHandle xTask, signed char *pcTaskName)
{
  /* This function will be called if a task overflows its stack.
   * pxTask and pcTaskName contain the task handle and name.
   * Put a breakpoint here to debug stack overflow issues. */
  (void)xTask;
  (void)pcTaskName;

  /* Blink LED or halt for debugging */
  while(1)
  {
    /* Stack overflow detected - halt here for debugging */
  }
}
/* USER CODE END 1 */

void MX_FREERTOS_Init(void) {
  /* USER CODE BEGIN Init */
  RM_RTOS_Init();
  /* USER CODE END Init */

  /* USER CODE BEGIN RTOS_MUTEX */
  /* add mutexes, ... */
  RM_RTOS_Mutexes_Init();
  /* USER CODE END RTOS_MUTEX */

  /* USER CODE BEGIN RTOS_SEMAPHORES */
  /* add semaphores, ... */
  RM_RTOS_Semaphores_Init();
  /* USER CODE END RTOS_SEMAPHORES */

  /* USER CODE BEGIN RTOS_TIMERS */
  /* start timers, add new ones, ... */
  RM_RTOS_Timers_Init();
  /* USER CODE END RTOS_TIMERS */

  /* USER CODE BEGIN RTOS_QUEUES */
  /* add queues, ... */
  RM_RTOS_Queues_Init();
  /* USER CODE END RTOS_QUEUES */

  /* Create the thread(s) */
  /* creation of defaultTask */
  defaultTaskHandle = osThreadNew(StartDefaultTask, NULL, &defaultTask_attributes);

  /* USER CODE BEGIN RTOS_THREADS */
  /* add threads, ... */
  RM_RTOS_Threads_Init();
  RM_RTOS_Ready();
  /* USER CODE END RTOS_THREADS */

}

void StartDefaultTask(void *argument)
{
  /* init code for USB_DEVICE */
  MX_USB_DEVICE_Init();
  /* USER CODE BEGIN StartDefaultTask */
  RM_RTOS_Default_Task(argument);
  /* Infinite loop */
  for(;;)
  {
    osDelay(1);
  }
  /* USER CODE END StartDefaultTask */
}
